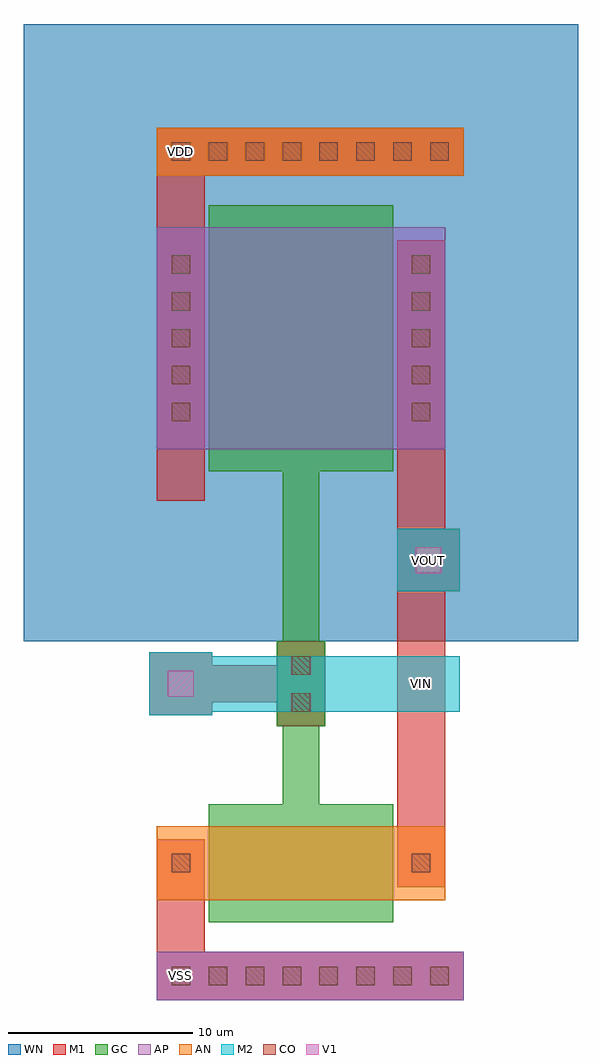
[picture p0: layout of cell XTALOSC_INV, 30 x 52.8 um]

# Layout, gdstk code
import gdstk
lib = gdstk.Library(unit=1e-6, precision=1e-09)
def R(c, l, rs):  # rectangles x0, y0, x1, y1
    for r in rs: c.add(gdstk.rectangle(r[:2], r[2:], *l))
def A(c, l, x, y, w, h, nx, ny, dx, dy):  # array of equal rectangles
    R(c, l, [(x+i*dx, y+j*dy, x+i*dx+w, y+j*dy+h) for i in range(nx) for j in range(ny)])
AP = (3, 1)
AN = (3, 2)
GC = (8, 1)
CO = (11, 0)
M1 = (13, 0)
V1 = (19, 0)
M2 = (20, 0)
WN = (140, 0)

fet_n_11 = lib.new_cell('fet_n$11')
R(fet_n_11, AN, [(-7.8,-2,7.8,2)])
R(fet_n_11, CO, [(-7,-0.5,-6,0.5), (6,-0.5,7,0.5)])
R(fet_n_11, M1, [(-7.8,-1.3,-5.2,1.3), (5.2,-1.3,7.8,1.3)])
fet_n_11.add(gdstk.FlexPath([(0,-3.2),(0,3.2)], 10, ends="flush", simple_path=True, layer=8, datatype=1))  # GC

fet_p_8 = lib.new_cell('fet_p$8')
R(fet_p_8, AP, [(-7.8,-6,7.8,6)])
A(fet_p_8, CO, -7, -4.5, 1, 1, 1, 5, 0, 2)
A(fet_p_8, CO, 6, -4.5, 1, 1, 1, 5, 0, 2)
R(fet_p_8, M1, [(-7.8,-5.3,-5.2,5.3), (5.2,-5.3,7.8,5.3)])
fet_p_8.add(gdstk.FlexPath([(0,-7.2),(0,7.2)], 10, ends="flush", simple_path=True, layer=8, datatype=1))  # GC

cont_p_65 = lib.new_cell('cont_p$65')
R(cont_p_65, AP, [(-1.3,-1.3,1.3,1.3)])
R(cont_p_65, CO, [(-0.5,-0.5,0.5,0.5)])
R(cont_p_65, M1, [(-1.3,-1.3,1.3,1.3)])

cont_n_11 = lib.new_cell('cont_n$11')
R(cont_n_11, AN, [(-1.3,-1.3,1.3,1.3)])
R(cont_n_11, CO, [(-0.5,-0.5,0.5,0.5)])
R(cont_n_11, M1, [(-1.3,-1.3,1.3,1.3)])

via_1_3 = lib.new_cell('via_1$3')
R(via_1_3, M1, [(-1.7,-1.7,1.7,1.7)])
R(via_1_3, V1, [(-0.7,-0.7,0.7,0.7)])
R(via_1_3, M2, [(-1.7,-1.7,1.7,1.7)])

cont_g_5 = lib.new_cell('cont_g$5')
R(cont_g_5, GC, [(-1.3,-1.3,1.3,1.3)])
R(cont_g_5, CO, [(-0.5,-0.5,0.5,0.5)])
R(cont_g_5, M1, [(-1.3,-1.3,1.3,1.3)])

xtalosc_inv = lib.new_cell('XTALOSC_INV')
R(xtalosc_inv, WN, [(-15,-16.4,15,17)])
xtalosc_inv.add(gdstk.FlexPath([(-6.5,5.3),(-6.5,8.8)], 2.6, ends="flush", simple_path=True, layer=13, datatype=0))  # M1
xtalosc_inv.add(gdstk.FlexPath([(-6.5,-8.8),(-6.5,-5.3)], 2.6, ends="flush", simple_path=True, layer=13, datatype=0))  # M1
xtalosc_inv.add(gdstk.FlexPath([(6.5,-27.1),(6.5,-5.3)], 2.6, ends="flush", simple_path=True, layer=13, datatype=0))  # M1
xtalosc_inv.add(gdstk.FlexPath([(-6.5,-29.7),(-6.5,-33.2)], 2.6, ends="flush", simple_path=True, layer=13, datatype=0))  # M1
xtalosc_inv.add(gdstk.FlexPath([(-4.8,-18.7),(-1.3,-18.7)], 2, ends="flush", simple_path=True, layer=13, datatype=0))  # M1
xtalosc_inv.add(gdstk.FlexPath([(-4.8,-18.7),(8.6,-18.7)], 3, ends="flush", simple_path=True, layer=20, datatype=0))  # M2
xtalosc_inv.add(gdstk.FlexPath([(0,-25.2),(0,-7.2)], 2, ends="flush", simple_path=True, layer=8, datatype=1))  # GC
xtalosc_inv.add(gdstk.Reference(fet_n_11, (0,-28.4)))
xtalosc_inv.add(gdstk.Reference(fet_p_8, (0,0)))
r = gdstk.Reference(cont_p_65, (-6.5,-34.5)); r.repetition = gdstk.Repetition(8, 1, v1=(2,0), v2=(0,0)); xtalosc_inv.add(r)
r = gdstk.Reference(cont_n_11, (-6.5,10.1)); r.repetition = gdstk.Repetition(8, 1, v1=(2,0), v2=(0,0)); xtalosc_inv.add(r)
xtalosc_inv.add(gdstk.Reference(via_1_3, (-6.5,-18.7)))
r = gdstk.Reference(cont_g_5, (0,-19.7)); r.repetition = gdstk.Repetition(1, 2, v1=(0,0), v2=(0,2)); xtalosc_inv.add(r)
xtalosc_inv.add(gdstk.Reference(via_1_3, (6.9,-12)))
xtalosc_inv.add(gdstk.Label('VOUT', (6.9,-12), layer=49, texttype=0))
xtalosc_inv.add(gdstk.Label('VIN', (6.5,-18.7), layer=49, texttype=0))
xtalosc_inv.add(gdstk.Label('VDD', (-6.5,10.1), layer=48, texttype=0))
xtalosc_inv.add(gdstk.Label('VSS', (-6.5,-34.5), layer=48, texttype=0))

lib.write_gds('XTALOSC_INV.gds')
